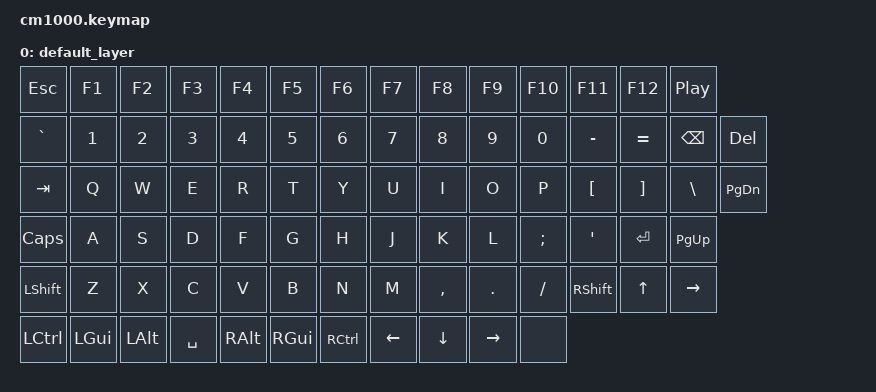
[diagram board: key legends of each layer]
#include <behaviors.dtsi>
#include <dt-bindings/zmk/keys.h>
#include <zephyr/dt-bindings/input/input-event-codes.h>

/ {
    keymap {
        compatible = "zmk,keymap";

        default_layer {
            bindings = <
                &kp ESC    &kp F1    &kp F2    &kp F3    &kp F4    &kp F5    &kp F6    &kp F7    &kp F8    &kp F9    &kp F10   &kp F11   &kp F12   &kp C_PP

                &kp GRAVE  &kp N1    &kp N2    &kp N3    &kp N4    &kp N5    &kp N6    &kp N7    &kp N8    &kp N9    &kp N0    &kp MINUS &kp EQUAL &kp BSPC   &kp DEL

                &kp TAB    &kp Q     &kp W     &kp E     &kp R     &kp T     &kp Y     &kp U     &kp I     &kp O     &kp P     &kp LBKT  &kp RBKT  &kp BSLH   &kp PG_DN

                &kp CAPS   &kp A     &kp S     &kp D     &kp F     &kp G     &kp H     &kp J     &kp K     &kp L     &kp SEMI  &kp SQT   &kp RET    &kp PG_UP

                &kp LSHFT  &kp Z     &kp X     &kp C     &kp V     &kp B     &kp N     &kp M     &kp COMMA &kp DOT   &kp SLASH &kp RSHFT &kp UP     &kp RIGHT

                &kp LCTRL  &kp LGUI  &kp LALT  &kp SPACE &kp RALT  &kp RGUI  &kp RCTRL &kp LEFT  &kp DOWN  &kp RIGHT &none
            >;
        };
    };
};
